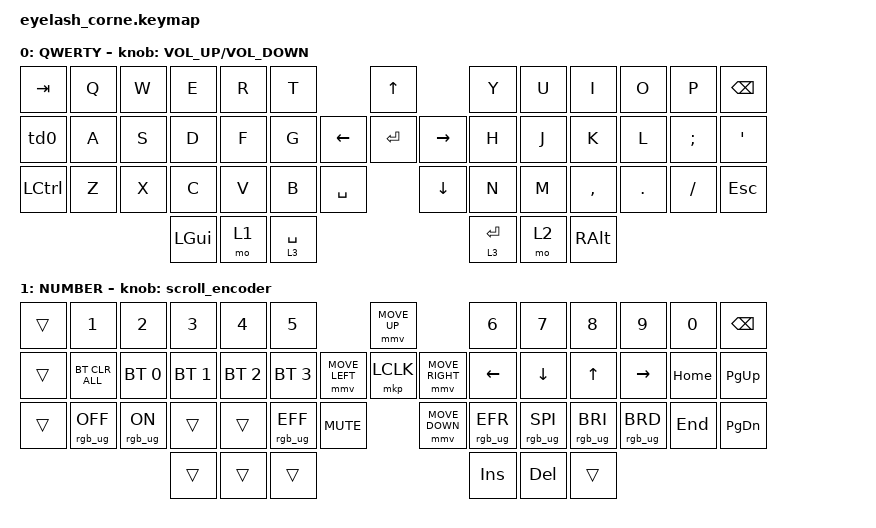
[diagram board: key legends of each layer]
#include <behaviors.dtsi>
#include <dt-bindings/zmk/bt.h>
#include <dt-bindings/zmk/keys.h>
#include <dt-bindings/zmk/mouse.h>
#include <dt-bindings/zmk/outputs.h>
#include <dt-bindings/zmk/rgb.h>

#include <input/processors.dtsi>

/*

   &mmv_input_listener {
       input-processors = <&zip_xy_scaler 2 1>;
   };

   &msc_input_listener {
       input-processors = <&zip_xy_scaler 2 1>;
   };

 */

#define ZMK_MOUSE_DEFAULT_MOVE_VAL 1200  // 600
#define ZMK_MOUSE_DEFAULT_SCRL_VAL 20    // 10

/ {
    behaviors {
        td0: td0 {
            compatible = "zmk,behavior-tap-dance";
            display-name = "Shift/Caps Lock Tap Dance";
            #binding-cells = <0>;
            bindings = <&kp LEFT_SHIFT>, <&kp CAPS>;
        };
    };

    rgb_encoder: rgb_encoder {
        compatible = "zmk,behavior-sensor-rotate";
        #sensor-binding-cells = <0>;
        bindings = <&rgb_ug RGB_BRI>, <&rgb_ug RGB_BRD>;
    };

    scroll_encoder: scroll_encoder {
        compatible = "zmk,behavior-sensor-rotate";
        #sensor-binding-cells = <0>;
        bindings = <&msc SCRL_DOWN>, <&msc SCRL_UP>;
        tap-ms = <30>;
    };

    keymap {
        compatible = "zmk,keymap";

        default_layer {
            display-name = "QWERTY";
            bindings = <
&kp TAB    &kp Q  &kp W      &kp E     &kp R  &kp T                              &kp UP                &kp Y        &kp U  &kp I      &kp O    &kp P     &kp BSPC
&td0       &kp A  &kp S      &kp D     &kp F  &kp G                    &kp LEFT  &kp ENTER  &kp RIGHT  &kp H        &kp J  &kp K      &kp L    &kp SEMI  &kp SQT
&kp LCTRL  &kp Z  &kp X      &kp C     &kp V  &kp B       &kp SPACE              &kp DOWN              &kp N        &kp M  &kp COMMA  &kp DOT  &kp FSLH  &kp ESC
                             &kp LGUI  &mo 1  &lt 3 SPACE                                              &lt 3 ENTER  &mo 2  &kp RALT
            >;
            sensor-bindings = <&inc_dec_kp C_VOLUME_UP C_VOLUME_DOWN>;
        };

        lower_layer {
            display-name = "NUMBER";
            bindings = <
&trans  &kp N1           &kp N2          &kp N3        &kp N4        &kp N5                                        &mmv MOVE_UP                     &kp N6           &kp N7           &kp N8           &kp N9           &kp N0    &kp BSPC
&trans  &bt BT_CLR_ALL   &bt BT_SEL 0    &bt BT_SEL 1  &bt BT_SEL 2  &bt BT_SEL 3                           &mmv MOVE_LEFT  &mkp LCLK       &mmv MOVE_RIGHT  &kp LEFT         &kp DOWN         &kp UP           &kp RIGHT        &kp HOME  &kp PG_UP
&trans  &rgb_ug RGB_OFF  &rgb_ug RGB_ON  &trans        &trans        &rgb_ug RGB_EFF &kp C_MUTE                    &mmv MOVE_DOWN                   &rgb_ug RGB_EFR  &rgb_ug RGB_SPI  &rgb_ug RGB_BRI  &rgb_ug RGB_BRD  &kp END   &kp PG_DN
                                         &trans        &trans        &trans                                                                         &kp INS          &kp DEL          &trans
            >;
            sensor-bindings = <&scroll_encoder>;
        };
    };
};
